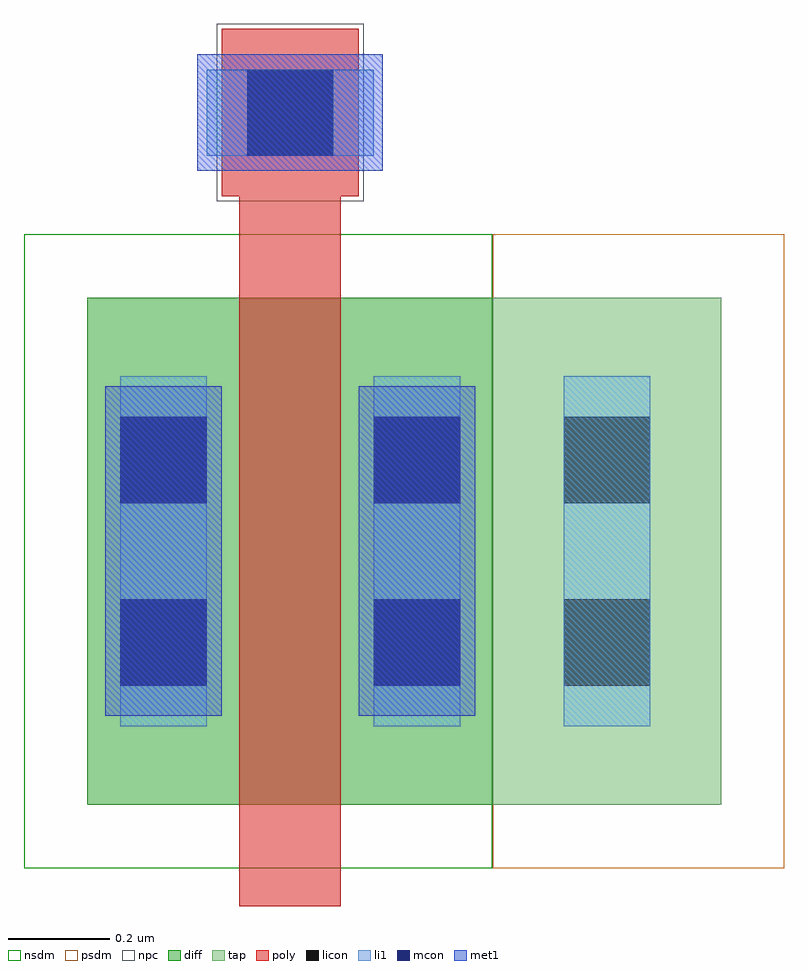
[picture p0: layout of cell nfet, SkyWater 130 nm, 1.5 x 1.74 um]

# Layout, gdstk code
import gdstk
lib = gdstk.Library(unit=1e-6, precision=1e-09)
def R(c, l, rs):  # rectangles x0, y0, x1, y1
    for r in rs: c.add(gdstk.rectangle(r[:2], r[2:], *l))
diff = (65, 20)
tap = (65, 44)
poly = (66, 20)
licon = (66, 44)
li1 = (67, 20)
mcon = (67, 44)
met1 = (68, 20)
nsdm = (93, 44)
psdm = (94, 20)
npc = (95, 20)

nfet = lib.new_cell('nfet')
R(nfet, diff, [(0,0,0.8,1)])
R(nfet, tap, [(0.8,0,1.25,1)])
R(nfet, poly, [(0.3,-0.2,0.5,1.2), (0.265,1.2,0.535,1.53)])
R(nfet, licon, [(0.065,0.235,0.235,0.405), (0.565,0.235,0.735,0.405), (0.94,0.235,1.11,0.405), (0.065,0.595,0.235,0.765), (0.565,0.595,0.735,0.765), (0.94,0.595,1.11,0.765), (0.315,1.28,0.485,1.45)])
R(nfet, li1, [(0.065,0.155,0.235,0.845), (0.565,0.155,0.735,0.845), (0.94,0.155,1.11,0.845), (0.235,1.28,0.565,1.45)])
R(nfet, mcon, [(0.065,0.235,0.235,0.405), (0.565,0.235,0.735,0.405), (0.065,0.595,0.235,0.765), (0.565,0.595,0.735,0.765), (0.315,1.28,0.485,1.45)])
R(nfet, met1, [(0.035,0.175,0.265,0.825), (0.535,0.175,0.765,0.825), (0.217,1.25,0.583,1.48)])
R(nfet, nsdm, [(-0.125,-0.125,0.799,1.125)])
R(nfet, psdm, [(0.8,-0.125,1.374,1.125)])
R(nfet, npc, [(0.255,1.19,0.545,1.54)])

lib.write_gds('nfet.gds')
